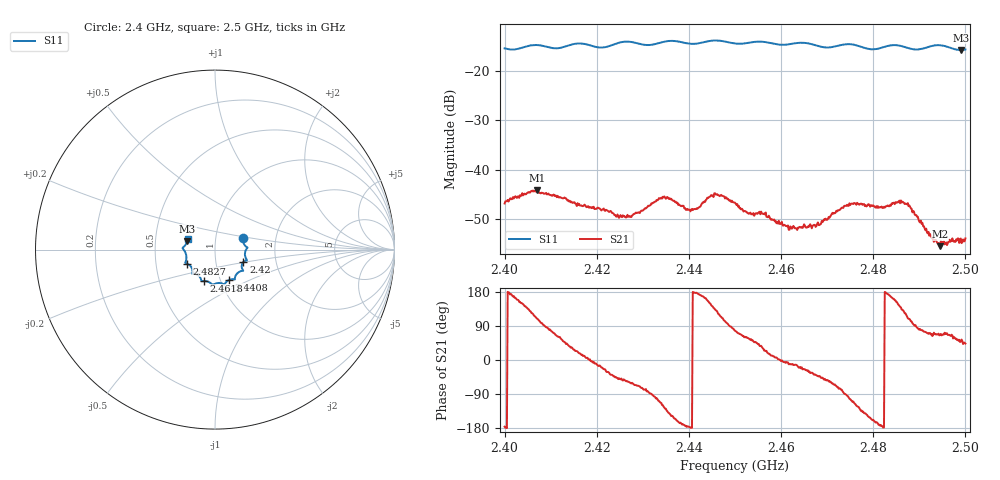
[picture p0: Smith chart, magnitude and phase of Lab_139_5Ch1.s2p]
# Hz S RI R 50
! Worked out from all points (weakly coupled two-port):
!   601 points, 2.4 GHz to 2.5 GHz, reference 50 ohm
!   highest |S21| = -44.09 dB at 2.407 GHz (marker M1); lowest = -55.5 dB at 2.4945 GHz (marker M2)
!   lowest |S11| = -15.8 dB at 2.499 GHz (marker M3), VSWR 1.39, Z = 36.5 + j3.52 ohm
!   |S11| at or under -10 dB: start of sweep to end of sweep
!   S12 and S22 are empty: the file has one direction only
!   S11 on the Smith chart (normalised r, x): 2.4 GHz: 1.36, +0.17; 2.42 GHz: 1.36, -0.19; 2.4408 GHz: 1.10, -0.39; 2.4618 GHz: 0.84, -0.30; 2.4827 GHz: 0.72, -0.12; 2.5 GHz: 0.73, +0.09
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2.4e9  0.1559 0.0619  -0.00453 -0.000319  0 0  0 0
2.407e9  0.181 0.0109  -0.00209 0.00588  0 0  0 0
2.411333e9  0.1667 -0.0215  0.00229 0.00474  0 0  0 0
2.416667e9  0.1781 -0.0591  0.00422 0.00101  0 0  0 0
2.42e9  0.1581 -0.0693  0.00395 -0.000784  0 0  0 0
2.427333e9  0.1554 -0.118  0.00165 -0.00293  0 0  0 0
2.433333e9  0.1119 -0.1521  -0.00147 -0.00474  0 0  0 0
2.435667e9  0.1108 -0.1658  -0.00386 -0.00324  0 0  0 0
2.440833e9  0.0791 -0.1689  -0.00389 2.44e-05  0 0  0 0
2.446e9  0.0514 -0.1949  -0.0036 0.00428  0 0  0 0
2.45e9  0.028 -0.1859  0.00102 0.00451  0 0  0 0
2.452333e9  0.00416 -0.1892  0.00189 0.00325  0 0  0 0
2.461833e9  -0.0602 -0.1749  0.00243 -0.000433  0 0  0 0
2.466667e9  -0.077 -0.1684  0.00212 -0.00141  0 0  0 0
2.475333e9  -0.1267 -0.1338  -0.00136 -0.00433  0 0  0 0
2.482667e9  -0.157 -0.0778  -0.00424 0.000103  0 0  0 0
2.483333e9  -0.1611 -0.0763  -0.00423 0.000524  0 0  0 0
2.4875e9  -0.1601 -0.0556  -0.00159 0.0043  0 0  0 0
2.492667e9  -0.1773 0.00286  0.000734 0.00192  0 0  0 0
2.4945e9  -0.1803 0.00965  0.000693 0.00153  0 0  0 0
2.499e9  -0.1545 0.047  0.00133 0.00151  0 0  0 0
2.5e9  -0.1518 0.0615  0.00147 0.00138  0 0  0 0
